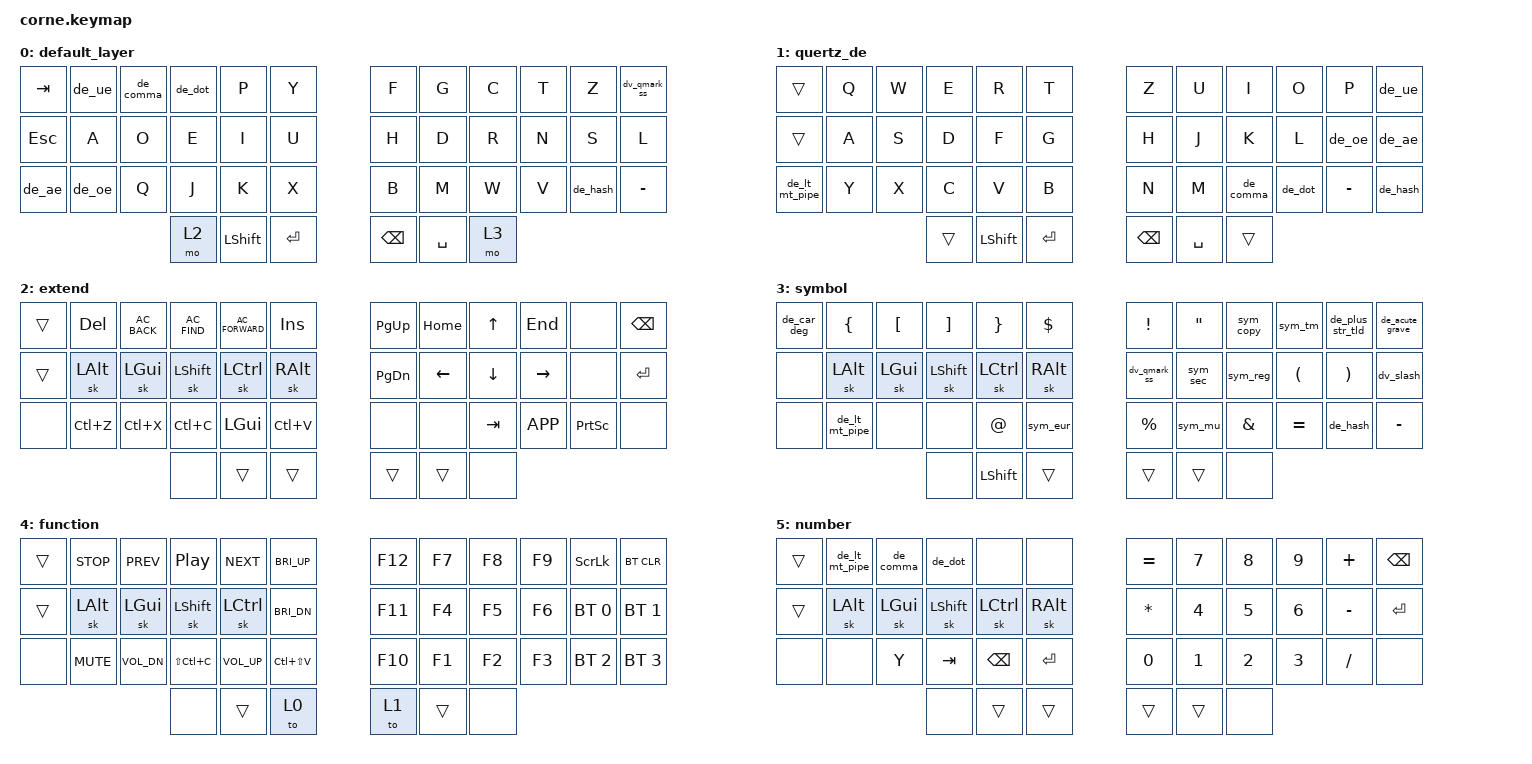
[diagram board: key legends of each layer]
/*
 * Copyright (c) 2020 The ZMK Contributors
 *
 * SPDX-License-Identifier: MIT
 */

#include <behaviors.dtsi>
#include <dt-bindings/zmk/bt.h>
#include <dt-bindings/zmk/keys.h>

/ {
    combos {
        compatible = "zmk,combos";

        number_layer {
            bindings = <&mo 5>;
            key-positions = <37 41>;
        };

        function_layer {
            bindings = <&mo 4>;
            key-positions = <36 41>;
        };
    };

    macros {
        sym_sec: sym_sec {
            compatible = "zmk,behavior-macro";
            #binding-cells = <0>;
            bindings = <&kp RALT &kp S &kp O>;
            label = "sym_sec";
        };

        de_ue: de_ue {
            compatible = "zmk,behavior-macro";
            #binding-cells = <0>;
            bindings = <&kp RALT &kp U &kp DQT>;
            label = "DE_UE";
        };

        de_ae: de_ae {
            compatible = "zmk,behavior-macro";
            #binding-cells = <0>;
            bindings = <&kp RALT &kp A &kp DQT>;
            label = "DE_AE";
        };

        de_oe: de_oe {
            compatible = "zmk,behavior-macro";
            #binding-cells = <0>;
            bindings = <&kp RALT &kp O &kp DQT>;
            label = "DE_OE";
        };

        de_ss: de_ss {
            compatible = "zmk,behavior-macro";
            #binding-cells = <0>;
            bindings = <&kp RALT &kp S &kp S>;
            label = "DE_SS";
        };

        sym_eur: sym_eur {
            compatible = "zmk,behavior-macro";
            #binding-cells = <0>;
            bindings = <&kp RALT &kp C &kp EQUAL>;
            label = "SYM_EUR";
        };

        sym_ss1: sym_ss1 {
            compatible = "zmk,behavior-macro";
            #binding-cells = <0>;
            bindings = <&kp RALT &kp CARET &kp KP_NUMBER_1>;
            label = "SYM_SS1";
        };

        sym_ss2: sym_ss2 {
            compatible = "zmk,behavior-macro";
            #binding-cells = <0>;
            bindings = <&kp RALT &kp CARET &kp KP_NUMBER_2>;
            label = "SYM_SS2";
        };

        sym_ss3: sym_ss3 {
            compatible = "zmk,behavior-macro";
            #binding-cells = <0>;
            bindings = <&kp RALT &kp CARET &kp KP_NUMBER_3>;
            label = "SYM_SS3";
        };

        sym_tm: sym_tm {
            compatible = "zmk,behavior-macro";
            #binding-cells = <0>;
            bindings = <&kp RALT &kp T &kp M>;
            label = "SYM_TM";
        };

        sym_reg: sym_reg {
            compatible = "zmk,behavior-macro";
            #binding-cells = <0>;
            bindings = <&kp RALT &kp O &kp R>;
            label = "SYM_REG";
        };

        sym_copy: sym_copy {
            compatible = "zmk,behavior-macro";
            #binding-cells = <0>;
            bindings = <&kp RALT &kp O &kp C>;
            label = "SYM_COPY";
        };

        sym_deg: sym_deg {
            compatible = "zmk,behavior-macro";
            #binding-cells = <0>;
            bindings = <&kp RALT &kp O &kp O>;
            label = "SYM_DEG";
        };

        sym_mu: sym_mu {
            compatible = "zmk,behavior-macro";
            #binding-cells = <0>;
            bindings = <&kp RALT &kp M &kp U>;
            label = "SYM_MU";
        };

        sym_acute: sym_acute {
            compatible = "zmk,behavior-macro";
            #binding-cells = <0>;
            bindings = <&kp RALT &kp SQT &kp SQT>;
            label = "SYM_ACUTE";
        };
    };

    behaviors {
        de_hash: de_hash {
            compatible = "zmk,behavior-mod-morph";
            label = "DE_HASH";
            bindings = <&kp HASH>, <&kp SQT>;

            #binding-cells = <0>;
            mods = <(MOD_LSFT)>;
        };

        de_comma: de_comma {
            compatible = "zmk,behavior-mod-morph";
            label = "DE_COMMA";
            bindings = <&kp COMMA>, <&kp SEMICOLON>;

            #binding-cells = <0>;
            mods = <(MOD_LSFT)>;
        };

        de_dot: de_dot {
            compatible = "zmk,behavior-mod-morph";
            label = "DE_DOT";
            bindings = <&kp DOT>, <&kp COLON>;

            #binding-cells = <0>;
            mods = <(MOD_LSFT)>;
        };

        part_less_pipe: part_less_pipe {
            compatible = "zmk,behavior-mod-morph";
            label = "PART_LESS_PIPE";
            bindings = <&kp LESS_THAN>, <&kp PIPE>;

            #binding-cells = <0>;
            mods = <(MOD_RALT)>;
        };

        de_lt_mt_pipe: de_lt_mt_pipe {
            compatible = "zmk,behavior-mod-morph";
            label = "de_lt_mt_pipe";
            bindings = <&part_less_pipe>, <&kp GREATER_THAN>;

            #binding-cells = <0>;
            mods = <(MOD_LSFT)>;
        };

        de_car_deg: de_car_deg {
            compatible = "zmk,behavior-mod-morph";
            label = "de_car_deg";
            bindings = <&kp CARET>, <&sym_deg>;

            #binding-cells = <0>;
            mods = <(MOD_LSFT)>;
        };

        part_plus_tilde: part_plus_tilde {
            compatible = "zmk,behavior-mod-morph";
            label = "PART_PLUS_TILDE";
            bindings = <&kp PLUS>, <&kp TILDE>;

            #binding-cells = <0>;
            mods = <(MOD_RALT)>;
        };

        de_plus_str_tld: de_plus_str_tld {
            compatible = "zmk,behavior-mod-morph";
            label = "de_plus_str_tld";
            bindings = <&part_plus_tilde>, <&kp STAR>;

            #binding-cells = <0>;
            mods = <(MOD_RALT)>;
        };

        dv_qmark_ss: dv_qmark_ss {
            compatible = "zmk,behavior-mod-morph";
            label = "dv_qmark_ss";
            bindings = <&kp QMARK>, <&de_ss>;

            #binding-cells = <0>;
            mods = <(MOD_LSFT)>;
        };

        de_acute_grave: de_acute_grave {
            compatible = "zmk,behavior-mod-morph";
            label = "DE_ACUTE_GRAVE";
            bindings = <&sym_acute>, <&kp GRAVE>;

            #binding-cells = <0>;
            mods = <(MOD_LSFT)>;
        };

        dv_slash: dv_slash {
            compatible = "zmk,behavior-mod-morph";
            label = "DV_SLASH";
            bindings = <&kp SLASH>, <&kp NON_US_BACKSLASH>;

            #binding-cells = <0>;
            mods = <(MOD_LSFT)>;
        };
    };

    keymap {
        compatible = "zmk,keymap";

        default_layer {
            // -----------------------------------------------------------------------------------------
            // | TAB |  Ü  |  ,  |  .  |  P  |  Y  |   |  F  |  G   |  C  |  T  |  Z  |  ?   |
            // | ESC |  A  |  O  |  E  |  I  |  U  |   |  H  |  D   |  R  |  N  |  S  |  L   |
            // |  Ä  |  Ö  |  Q  |  J  |  K  |  X  |   |  B  |  M   |  ,  |  .  |  #  |  -   |
            //                   | CTRL| GUI | SPC |   | ENT | RSE  | ALT |

            bindings = <
&kp TAB  &de_ue  &de_comma  &de_dot  &kp P      &kp Y      &kp F     &kp G      &kp C  &kp T  &kp Z     &dv_qmark_ss
&kp ESC  &kp A   &kp O      &kp E    &kp I      &kp U      &kp H     &kp D      &kp R  &kp N  &kp S     &kp L
&de_ae   &de_oe  &kp Q      &kp J    &kp K      &kp X      &kp B     &kp M      &kp W  &kp V  &de_hash  &kp MINUS
                            &mo 2    &kp LSHFT  &kp RET    &kp BSPC  &kp SPACE  &mo 3
            >;
        };

        quertz_de {
            // -----------------------------------------------------------------------------------------
            // | TAB |  Q  |  W  |  E  |  R  |  T  |   |  Z  |  U   |  I  |  O  |  P  |  Ü   |
            // | ESC |  A  |  S  |  D  |  F  |  G  |   |  H  |  J   |  K  |  L  |  Ö  |  Ä   |
            // |  <  |  Y  |  X  |  C  |  V  |  B  |   |  N  |  M   |  ,  |  .  |  -  |  #   |
            //                   | EXT | SFT | ENT |   | BSP | SPC  | SYM |

            bindings = <
&trans          &kp Q  &kp W  &kp E   &kp R      &kp T        &kp Z          &kp U      &kp I      &kp O    &kp P      &de_ue
&trans          &kp A  &kp S  &kp D   &kp F      &kp G        &kp H          &kp J      &kp K      &kp L    &de_oe     &de_ae
&de_lt_mt_pipe  &kp Y  &kp X  &kp C   &kp V      &kp B        &kp N          &kp M      &de_comma  &de_dot  &kp MINUS  &de_hash
                              &trans  &kp LSHFT  &kp ENTER    &kp BACKSPACE  &kp SPACE  &trans
            >;
        };

        extend {
            bindings = <
&trans  &kp DEL    &kp C_AC_BACK  &kp C_AC_FIND  &kp C_AC_FORWARD  &kp INS      &kp PG_UP  &kp HOME  &kp UP    &kp END    &none      &kp BSPC
&trans  &sk LALT   &sk LGUI       &sk LSHFT      &sk LCTRL         &sk RALT     &kp PG_DN  &kp LEFT  &kp DOWN  &kp RIGHT  &none      &kp ENTER
&none   &kp LC(Z)  &kp LC(X)      &kp LC(C)      &kp LGUI          &kp LC(V)    &none      &none     &kp TAB   &kp K_APP  &kp PSCRN  &none
                                  &none          &trans            &trans       &trans     &trans    &none
            >;
        };

        symbol {
            bindings = <
&de_car_deg  &kp LBRC        &kp LBKT  &kp RBKT   &kp RBRC   &kp DLLR    &kp EXCL      &kp DQT   &sym_copy  &sym_tm    &de_plus_str_tld  &de_acute_grave
&none        &sk LALT        &sk LGUI  &sk LSHFT  &sk LCTRL  &sk RALT    &dv_qmark_ss  &sym_sec  &sym_reg   &kp LPAR   &kp RPAR          &dv_slash
&none        &de_lt_mt_pipe  &none     &none      &kp AT     &sym_eur    &kp PRCNT     &sym_mu   &kp AMPS   &kp EQUAL  &de_hash          &kp MINUS
                                       &none      &kp LSHFT  &trans      &trans        &trans    &none
            >;
        };

        function {
            bindings = <
&trans  &kp C_STOP  &kp C_PREV    &kp C_PP       &kp C_NEXT    &kp C_BRI_UP     &kp F12  &kp F7  &kp F8  &kp F9  &kp SLCK      &bt BT_CLR
&trans  &sk LALT    &sk LGUI      &sk LSHFT      &sk LCTRL     &kp C_BRI_DN     &kp F11  &kp F4  &kp F5  &kp F6  &bt BT_SEL 0  &bt BT_SEL 1
&none   &kp C_MUTE  &kp C_VOL_DN  &kp LS(LC(C))  &kp C_VOL_UP  &kp LC(LS(V))    &kp F10  &kp F1  &kp F2  &kp F3  &bt BT_SEL 2  &bt BT_SEL 3
                                  &none          &trans        &to 0            &to 1    &trans  &none
            >;
        };

        number {
            bindings = <
&trans  &de_lt_mt_pipe  &de_comma  &de_dot    &none      &none       &kp EQUAL  &kp N7  &kp N8  &kp N9  &kp PLUS   &kp BSPC
&trans  &sk LALT        &sk LGUI   &sk LSHFT  &sk LCTRL  &sk RALT    &kp STAR   &kp N4  &kp N5  &kp N6  &kp MINUS  &kp RET
&none   &none           &kp Y      &kp TAB    &kp BSPC   &kp RET     &kp N0     &kp N1  &kp N2  &kp N3  &kp FSLH   &none
                                   &none      &trans     &trans      &trans     &trans  &none
            >;
        };
    };
};
